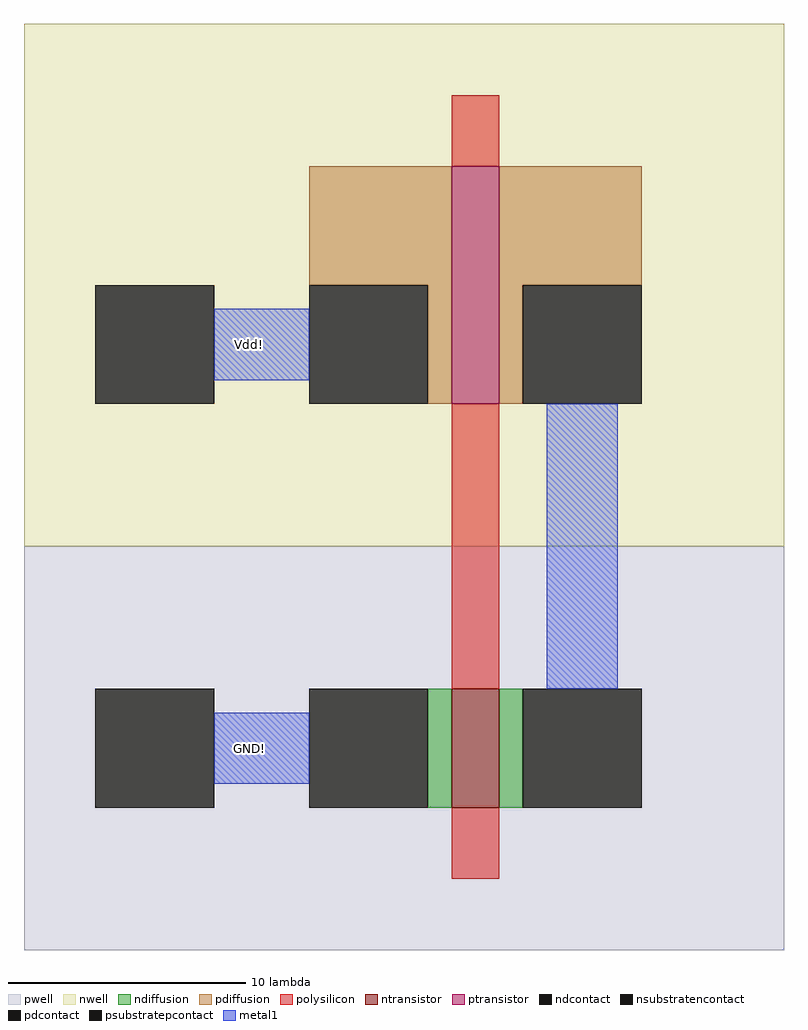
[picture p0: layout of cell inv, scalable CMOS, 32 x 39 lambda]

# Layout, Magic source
magic
tech scmos
<< nwell >>
rect -12 -6 20 16
<< pwell >>
rect -12 -23 20 -6
<< ntransistor >>
rect 6 -17 8 -12
<< ptransistor >>
rect 6 0 8 10
<< ndiffusion >>
rect 5 -17 6 -12
rect 8 -17 9 -12
<< pdiffusion >>
rect 0 5 6 10
rect 5 0 6 5
rect 8 5 14 10
rect 8 0 9 5
<< ndcontact >>
rect 0 -17 5 -12
rect 9 -17 14 -12
<< pdcontact >>
rect 0 0 5 5
rect 9 0 14 5
<< psubstratepcontact >>
rect -9 -17 -4 -12
<< nsubstratencontact >>
rect -9 0 -4 5
<< polysilicon >>
rect 6 10 8 13
rect 6 -12 8 0
rect 6 -20 8 -17
<< metal1 >>
rect -4 1 0 4
rect 10 -12 13 0
rect -4 -16 0 -13
<< labels >>
rlabel metal1 -3 2 -2 3 1 Vdd!
rlabel metal1 -3 -15 -2 -14 1 GND!
<< end >>
